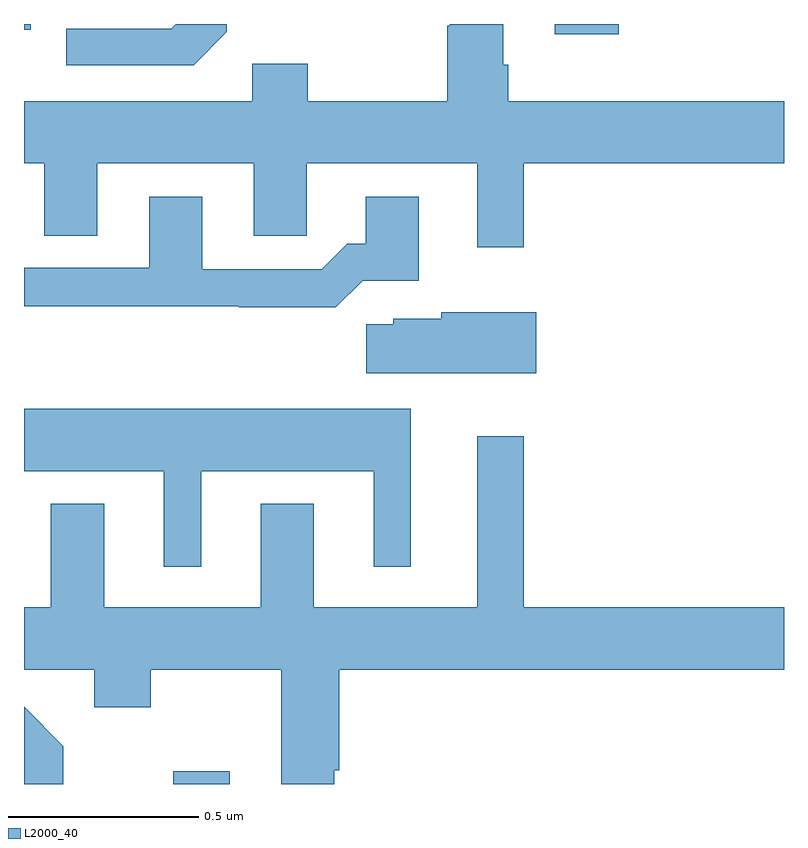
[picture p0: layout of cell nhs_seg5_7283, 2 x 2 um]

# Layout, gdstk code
import gdstk
lib = gdstk.Library(unit=1e-6, precision=1e-09)
def R(c, l, rs):  # rectangles x0, y0, x1, y1
    for r in rs: c.add(gdstk.rectangle(r[:2], r[2:], *l))
def P(c, l, *ps):  # polygons
    for p in ps: c.add(gdstk.Polygon(p, *l))
L2000_40 = (2000, 40)

nhs_seg5_7283 = lib.new_cell('nhs_seg5_7283')
R(nhs_seg5_7283, L2000_40, [(207.393,849.799,207.541,849.832), (208.397,851.772,208.565,851.799), (207,851.784,207.018,851.799)])
P(nhs_seg5_7283, L2000_40, [(207.534,851.778),(207.534,851.799),(207.399,851.799),(207.387,851.787),(207.111,851.787),(207.111,851.691),(207.447,851.691)],
  [(208.315,851.432),(209,851.432),(209,851.596),(208.274,851.596),(208.274,851.692),(208.261,851.692),(208.261,851.799),(208.121,851.799),(208.121,851.795),(208.114,851.795),(208.114,851.596),(207.747,851.596),(207.747,851.695),(207.6,851.695),(207.6,851.596),(207,851.596),(207,851.432),(207.053,851.432),(207.053,851.242),(207.193,851.242),(207.193,851.432),(207.605,851.432),(207.605,851.242),(207.744,851.242),(207.744,851.432),(208.193,851.432),(208.193,851.211),(208.315,851.211)],
  [(207.891,851.124),(208.039,851.124),(208.039,851.344),(207.899,851.344),(207.899,851.221),(207.85,851.221),(207.783,851.154),(207.469,851.154),(207.469,851.344),(207.329,851.344),(207.329,851.157),(207,851.157),(207,851.056),(207.565,851.056),(207.565,851.054),(207.821,851.054)],
  [(208.348,851.041),(208.098,851.041),(208.098,851.023),(207.972,851.023),(207.972,851.009),(207.9,851.009),(207.9,850.88),(208.348,850.88)],
  [(207.466,850.622),(207.92,850.622),(207.92,850.371),(208.018,850.371),(208.018,850.786),(207,850.786),(207,850.622),(207.368,850.622),(207.368,850.371),(207.466,850.371)],
  [(207.817,849.835),(207.83,849.835),(207.83,850.1),(209,850.1),(209,850.264),(208.315,850.264),(208.315,850.714),(208.193,850.714),(208.193,850.264),(207.763,850.264),(207.763,850.537),(207.623,850.537),(207.623,850.264),(207.211,850.264),(207.211,850.537),(207.071,850.537),(207.071,850.264),(207,850.264),(207,850.1),(207.185,850.1),(207.185,850.001),(207.333,850.001),(207.333,850.1),(207.677,850.1),(207.677,849.799),(207.817,849.799)],
  [(207.103,849.899),(207,850.002),(207,849.799),(207.103,849.799)])

lib.write_gds('nhs_seg5_7283.gds')
